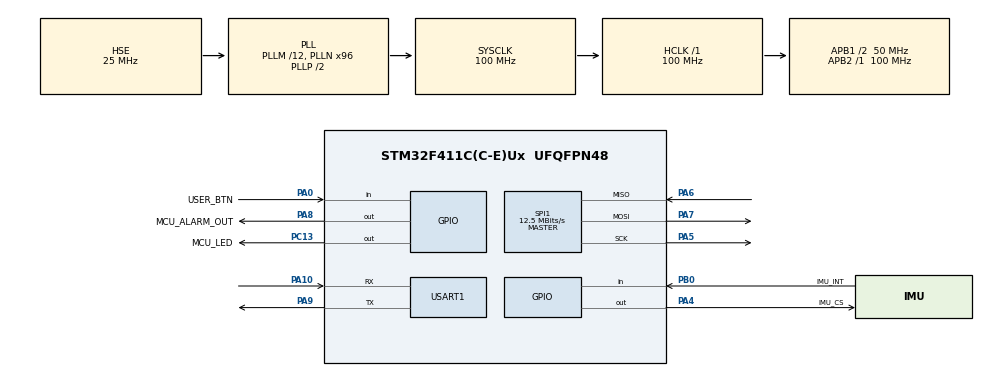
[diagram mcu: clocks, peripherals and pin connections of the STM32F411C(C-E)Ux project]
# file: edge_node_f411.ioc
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Dma.Request0=USART1_RX
Dma.Request1=USART1_TX
Dma.USART1_RX.0.Direction=DMA_PERIPH_TO_MEMORY
Dma.USART1_RX.0.FIFOMode=DMA_FIFOMODE_DISABLE
Dma.USART1_RX.0.Instance=DMA2_Stream2
Dma.USART1_RX.0.MemDataAlignment=DMA_MDATAALIGN_BYTE
Dma.USART1_RX.0.MemInc=DMA_MINC_ENABLE
Dma.USART1_RX.0.Mode=DMA_NORMAL
Dma.USART1_RX.0.PeriphDataAlignment=DMA_PDATAALIGN_BYTE
Dma.USART1_RX.0.PeriphInc=DMA_PINC_DISABLE
Dma.USART1_RX.0.Priority=DMA_PRIORITY_LOW
Dma.USART1_TX.1.Direction=DMA_MEMORY_TO_PERIPH
Dma.USART1_TX.1.FIFOMode=DMA_FIFOMODE_DISABLE
Dma.USART1_TX.1.Instance=DMA2_Stream7
Dma.USART1_TX.1.MemDataAlignment=DMA_MDATAALIGN_BYTE
Dma.USART1_TX.1.MemInc=DMA_MINC_ENABLE
Dma.USART1_TX.1.Mode=DMA_NORMAL
Dma.USART1_TX.1.PeriphDataAlignment=DMA_PDATAALIGN_BYTE
Dma.USART1_TX.1.PeriphInc=DMA_PINC_DISABLE
Dma.USART1_TX.1.Priority=DMA_PRIORITY_LOW
FREERTOS.Tasks01=Task_Heartbeat,24,128,StartDefaultTask,Default,NULL,Dynamic,NULL,NULL;Task_IMU,40,256,StartTaskIMU,Default,NULL,Dynamic,NULL,NULL;Task_Protocol,32,256,StartTaskProtocol,Default,NULL,Dynamic,NULL,NULL
Mcu.Family=STM32F4
Mcu.Name=STM32F411C(C-E)Ux
Mcu.Package=UFQFPN48
NVIC.DMA2_Stream2_IRQn=true\:5\:0\:false\:false\:true\:true\:false\:true\:true
NVIC.DMA2_Stream7_IRQn=true\:5\:0\:false\:false\:true\:true\:false\:true\:true
NVIC.PriorityGroup=NVIC_PRIORITYGROUP_4
NVIC.SPI1_IRQn=true\:5\:0\:false\:false\:true\:true\:true\:true\:true
NVIC.TIM1_UP_TIM10_IRQn=true\:15\:0\:false\:false\:true\:false\:false\:true\:true
NVIC.TimeBase=TIM1_UP_TIM10_IRQn
NVIC.TimeBaseIP=TIM1
NVIC.USART1_IRQn=true\:5\:0\:false\:false\:true\:true\:true\:true\:true
PA0-WKUP.GPIO_Label=USER_BTN
PA0-WKUP.GPIO_PuPd=GPIO_PULLUP
PA0-WKUP.Signal=GPIO_Input
PA10.Mode=Asynchronous
PA10.Signal=USART1_RX
PA13.Mode=Serial_Wire
PA13.Signal=SYS_JTMS-SWDIO
PA14.Mode=Serial_Wire
PA14.Signal=SYS_JTCK-SWCLK
PA4.GPIO_Label=IMU_CS
PA4.Signal=GPIO_Output
PA5.Mode=Full_Duplex_Master
PA5.Signal=SPI1_SCK
PA6.Mode=Full_Duplex_Master
PA6.Signal=SPI1_MISO
PA7.Mode=Full_Duplex_Master
PA7.Signal=SPI1_MOSI
PA8.GPIO_Label=MCU_ALARM_OUT
PA8.Signal=GPIO_Output
PA9.Mode=Asynchronous
PA9.Signal=USART1_TX
PB0.GPIO_Label=IMU_INT
PB0.GPIO_PuPd=GPIO_PULLDOWN
PB0.Signal=GPIO_Input
PC13-ANTI_TAMP.GPIO_Label=MCU_LED
PC13-ANTI_TAMP.GPIO_ModeDefaultOutputPP=GPIO_MODE_OUTPUT_PP
PC13-ANTI_TAMP.Signal=GPIO_Output
PC14-OSC32_IN.Mode=LSE-External-Oscillator
PC14-OSC32_IN.Signal=RCC_OSC32_IN
PC15-OSC32_OUT.Mode=LSE-External-Oscillator
PC15-OSC32_OUT.Signal=RCC_OSC32_OUT
PH0\ -\ OSC_IN.Mode=HSE-External-Oscillator
PH0\ -\ OSC_IN.Signal=RCC_OSC_IN
PH1\ -\ OSC_OUT.Mode=HSE-External-Oscillator
PH1\ -\ OSC_OUT.Signal=RCC_OSC_OUT
ProjectManager.HeapSize=0x200
ProjectManager.StackSize=0x400
ProjectManager.TargetToolchain=CMake
RCC.48MHZClocksFreq_Value=50000000
RCC.AHBFreq_Value=100000000
RCC.APB1CLKDivider=RCC_HCLK_DIV2
RCC.APB1Freq_Value=50000000
RCC.APB1TimFreq_Value=100000000
RCC.APB2Freq_Value=100000000
RCC.APB2TimFreq_Value=100000000
RCC.CortexFreq_Value=100000000
RCC.HCLKFreq_Value=100000000
RCC.HSE_VALUE=25000000
RCC.HSI_VALUE=16000000
RCC.PLLM=12
RCC.PLLN=96
RCC.PLLSourceVirtual=RCC_PLLSOURCE_HSE
RCC.SYSCLKFreq_VALUE=100000000
RCC.SYSCLKSource=RCC_SYSCLKSOURCE_PLLCLK
RCC.VCOOutputFreq_Value=200000000
SPI1.BaudRatePrescaler=SPI_BAUDRATEPRESCALER_8
SPI1.CLKPhase=SPI_PHASE_2EDGE
SPI1.CLKPolarity=SPI_POLARITY_HIGH
SPI1.CalculateBaudRate=12.5 MBits/s
SPI1.Direction=SPI_DIRECTION_2LINES
SPI1.Mode=SPI_MODE_MASTER
SPI1.VirtualType=VM_MASTER
USART1.VirtualMode=VM_ASYNC
VP_FREERTOS_VS_CMSIS_V2.Mode=CMSIS_V2
VP_SYS_VS_tim1.Mode=TIM1
board=custom

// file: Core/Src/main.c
/* USER CODE BEGIN Header */
/**
  ******************************************************************************
  * @file           : main.c
  * @brief          : Main program body
  ******************************************************************************
  * @attention
  *
  * Copyright (c) 2026 STMicroelectronics.
  * All rights reserved.
  *
  * This software is licensed under terms that can be found in the LICENSE file
  * in the root directory of this software component.
  * If no LICENSE file comes with this software, it is provided AS-IS.
  *
  ******************************************************************************
  */
/* USER CODE END Header */
#include "main.h"
#include "cmsis_os.h"
#include "dma.h"
#include "spi.h"
#include "usart.h"
#include "gpio.h"

/* USER CODE BEGIN Includes */
#include "icm42688.h"
#include <string.h>
#include <stdio.h>
#include <stdarg.h>
/* USER CODE END Includes */

void SystemClock_Config(void);
void MX_FREERTOS_Init(void);

/* USER CODE BEGIN 0 */
void My_print(const char *fmt, ...)
{
    char buf[128];
    va_list args;
    va_start(args, fmt);
    int len = vsnprintf(buf, sizeof(buf), fmt, args);
    va_end(args);
    HAL_UART_Transmit(&huart1, (uint8_t*)buf, len, 1000);
}
/* USER CODE END 0 */

int main(void)
{

  /* MCU Configuration--------------------------------------------------------*/

  /* Reset of all peripherals, Initializes the Flash interface and the Systick. */
  HAL_Init();

  /* Configure the system clock */
  SystemClock_Config();

  /* Initialize all configured peripherals */
  MX_GPIO_Init();
  MX_DMA_Init();
  MX_USART1_UART_Init();
  MX_SPI1_Init();
  /* USER CODE BEGIN 2 */
  HAL_GPIO_WritePin(MCU_ALARM_OUT_GPIO_Port, MCU_ALARM_OUT_Pin, GPIO_PIN_SET);
  ICM_Init();
  Gyro_Calibration();
  HAL_Delay(5);
  // 使能IMU INT1 Data Ready中断
  ICM_EnableDataReadyInt();

  /* USER CODE END 2 */

  /* Init scheduler */
  osKernelInitialize();  /* Call init function for freertos objects (in cmsis_os2.c) */
  MX_FREERTOS_Init();

  /* Start scheduler */
  osKernelStart();

  /* We should never get here as control is now taken by the scheduler */

  /* Infinite loop */
  while (1)
  {

  }
}

void SystemClock_Config(void)
{
  RCC_OscInitTypeDef RCC_OscInitStruct = {0};
  RCC_ClkInitTypeDef RCC_ClkInitStruct = {0};

  /** Configure the main internal regulator output voltage
  */
  __HAL_RCC_PWR_CLK_ENABLE();
  __HAL_PWR_VOLTAGESCALING_CONFIG(PWR_REGULATOR_VOLTAGE_SCALE1);

  /** Initializes the RCC Oscillators according to the specified parameters
  * in the RCC_OscInitTypeDef structure.
  */
  RCC_OscInitStruct.OscillatorType = RCC_OSCILLATORTYPE_HSE;
  RCC_OscInitStruct.HSEState = RCC_HSE_ON;
  RCC_OscInitStruct.PLL.PLLState = RCC_PLL_ON;
  RCC_OscInitStruct.PLL.PLLSource = RCC_PLLSOURCE_HSE;
  RCC_OscInitStruct.PLL.PLLM = 12;
  RCC_OscInitStruct.PLL.PLLN = 96;
  RCC_OscInitStruct.PLL.PLLP = RCC_PLLP_DIV2;
  RCC_OscInitStruct.PLL.PLLQ = 4;
  if (HAL_RCC_OscConfig(&RCC_OscInitStruct) != HAL_OK)
  {
    Error_Handler();
  }

  /** Initializes the CPU, AHB and APB buses clocks
  */
  RCC_ClkInitStruct.ClockType = RCC_CLOCKTYPE_HCLK|RCC_CLOCKTYPE_SYSCLK
                              |RCC_CLOCKTYPE_PCLK1|RCC_CLOCKTYPE_PCLK2;
  RCC_ClkInitStruct.SYSCLKSource = RCC_SYSCLKSOURCE_PLLCLK;
  RCC_ClkInitStruct.AHBCLKDivider = RCC_SYSCLK_DIV1;
  RCC_ClkInitStruct.APB1CLKDivider = RCC_HCLK_DIV2;
  RCC_ClkInitStruct.APB2CLKDivider = RCC_HCLK_DIV1;

  if (HAL_RCC_ClockConfig(&RCC_ClkInitStruct, FLASH_LATENCY_3) != HAL_OK)
  {
    Error_Handler();
  }
}

void HAL_TIM_PeriodElapsedCallback(TIM_HandleTypeDef *htim)
{
  if (htim->Instance == TIM1)
  {
    HAL_IncTick();
  }
}

void Error_Handler(void)
{
  __disable_irq();
  while (1)
  {
  }
}

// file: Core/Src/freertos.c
/* USER CODE BEGIN Header */
/**
  ******************************************************************************
  * File Name          : freertos.c
  * Description        : Code for freertos applications
  ******************************************************************************
  * @attention
  *
  * Copyright (c) 2026 STMicroelectronics.
  * All rights reserved.
  *
  * This software is licensed under terms that can be found in the LICENSE file
  * in the root directory of this software component.
  * If no LICENSE file comes with this software, it is provided AS-IS.
  *
  ******************************************************************************
  */
/* USER CODE END Header */

#include "FreeRTOS.h"
#include "task.h"
#include "main.h"
#include "cmsis_os.h"

/* USER CODE BEGIN Includes */
#include <stdint.h>
#include <stdio.h>
#include "icm42688.h"
#include "vibration_monitor.h"
#include "alarm.h"
#include "protocol.h"
/* USER CODE END Includes */

/* USER CODE BEGIN PTD */
// 告警事件结构
typedef struct {
    uint8_t alarm_type;    // 报警类型
    float peak;            // 加速度峰值
    float rms;             // 加速度RMS
    float gyro_x;          // 角速度X
    float gyro_y;          // 角速度Y
    float gyro_z;          // 角速度Z
} AlarmEvent_t;

// 接收数据队列消息结构
typedef struct {
    uint8_t data[256];
    uint16_t len;
} RxDataMsg_t;
/* USER CODE END PTD */

/* USER CODE BEGIN Variables */
extern float gyro_bias_x;
extern float gyro_bias_y;
extern float gyro_bias_z;

osSemaphoreId_t imuDataReadySemHandle;       // IMU数据就绪信号量
volatile uint8_t imu_data_available = 0;     // 1秒内是否收到过IMU数据

// Alarm任务相关（放在USER CODE区避免CubeMX覆盖）
osThreadId_t Task_AlarmHandle;
const osThreadAttr_t Task_Alarm_attributes = {
  .name = "Task_Alarm",
  .stack_size = 256 * 4,
  .priority = (osPriority_t) osPriorityAboveNormal,
};

// 消息队列
osMessageQueueId_t AlarmQueueHandle;
const osMessageQueueAttr_t AlarmQueue_attributes = { .name = "AlarmQueue" };
osMessageQueueId_t RxDataQueueHandle;
const osMessageQueueAttr_t RxDataQueue_attributes = { .name = "RxDataQueue" };
/* USER CODE END Variables */
/* Definitions for Task_Heartbeat */
osThreadId_t Task_HeartbeatHandle;
const osThreadAttr_t Task_Heartbeat_attributes = {
  .name = "Task_Heartbeat",
  .stack_size = 128 * 4,
  .priority = (osPriority_t) osPriorityNormal,
};
/* Definitions for Task_IMU */
osThreadId_t Task_IMUHandle;
const osThreadAttr_t Task_IMU_attributes = {
  .name = "Task_IMU",
  .stack_size = 256 * 4,
  .priority = (osPriority_t) osPriorityHigh,
};
/* Definitions for Task_Protocol */
osThreadId_t Task_ProtocolHandle;
const osThreadAttr_t Task_Protocol_attributes = {
  .name = "Task_Protocol",
  .stack_size = 256 * 4,
  .priority = (osPriority_t) osPriorityAboveNormal,
};

/* USER CODE BEGIN FunctionPrototypes */
void My_print(const char* format, ...);
void StartTaskAlarm(void *argument);
/* USER CODE END FunctionPrototypes */

void StartDefaultTask(void *argument);
void StartTaskIMU(void *argument);
void StartTaskProtocol(void *argument);

void MX_FREERTOS_Init(void); /* (MISRA C 2004 rule 8.1) */

void MX_FREERTOS_Init(void) {

  /* USER CODE BEGIN RTOS_SEMAPHORES */
  /* add semaphores, ... */
  imuDataReadySemHandle = osSemaphoreNew(1, 0, NULL);
  /* USER CODE END RTOS_SEMAPHORES */

  /* USER CODE BEGIN RTOS_QUEUES */
  /* add queues, ... */
  AlarmQueueHandle = osMessageQueueNew(5, sizeof(AlarmEvent_t), &AlarmQueue_attributes);
  RxDataQueueHandle = osMessageQueueNew(5, sizeof(RxDataMsg_t), &RxDataQueue_attributes);
  /* USER CODE END RTOS_QUEUES */

  /* Create the thread(s) */
  /* creation of Task_Heartbeat */
  Task_HeartbeatHandle = osThreadNew(StartDefaultTask, NULL, &Task_Heartbeat_attributes);

  /* creation of Task_IMU */
  Task_IMUHandle = osThreadNew(StartTaskIMU, NULL, &Task_IMU_attributes);

  /* creation of Task_Protocol */
  Task_ProtocolHandle = osThreadNew(StartTaskProtocol, NULL, &Task_Protocol_attributes);

  /* USER CODE BEGIN RTOS_THREADS */
  /* add threads, ... */
  /* creation of Task_Alarm */
  Task_AlarmHandle = osThreadNew(StartTaskAlarm, NULL, &Task_Alarm_attributes);
  /* USER CODE END RTOS_THREADS */

}

void StartDefaultTask(void *argument)
{
  /* USER CODE BEGIN StartDefaultTask */
  /* Infinite loop */
  for(;;)
  {
    // 先清标志，再等1秒，看这1秒内IMU有没有发过特征包
    imu_data_available = 0;
    osDelay(1000);
    HAL_GPIO_TogglePin(MCU_LED_GPIO_Port, MCU_LED_Pin);

    if (!imu_data_available)
    {
      // 这1秒内没收到IMU数据，发空心跳包兜底
      Protocol_SendHeartbeat();
    }
  }
  /* USER CODE END StartDefaultTask */
}

void StartTaskIMU(void *argument)
{
  /* USER CODE BEGIN StartTaskIMU */
  icm42688_data_t imu_data;
  VibMonitor_Statistics_t stats;

  // 初始化振动监测模块
  VibMonitor_Init();

  uint16_t sample_count = 0;

  /* Infinite loop */
  for(;;)
  {
    // 等待IMU数据就绪信号量（超时50ms）
    if (osSemaphoreAcquire(imuDataReadySemHandle, 50) == osOK)
    {
      // 读取 IMU 数据
      ICM_ReadTempData(&imu_data);

      // SPI通信成功，标记IMU链路正常
      imu_data_available = 1;

      // 转换为物理单位
      float ax = imu_data.accel_x / 2048.0f;  // ±16g 量程
      float ay = imu_data.accel_y / 2048.0f;
      float az = imu_data.accel_z / 2048.0f;
      float gx = (imu_data.gyro_x / 16.4f) - (gyro_bias_x / 0.0174533f);
      float gy = (imu_data.gyro_y / 16.4f) - (gyro_bias_y / 0.0174533f);
      float gz = (imu_data.gyro_z / 16.4f) - (gyro_bias_z / 0.0174533f);

      // 添加样本
      VibMonitor_AddSample(ax, ay, az, gx, gy, gz);
      sample_count++;

      // 每秒输出一次统计结果
      if (sample_count >= SAMPLES_PER_SECOND)
      {
        VibMonitor_Calculate(&stats);

        // 发送IMU特征数据到树莓派
        Protocol_SendIMUFeature(stats.accel_peak, stats.accel_rms,
                                stats.gyro_mean_x, stats.gyro_mean_y, stats.gyro_mean_z);

        // 如果有阈值超限，发送告警到队列（位掩码，上层解析）
        if (stats.alarm_flag)
        {
          AlarmEvent_t alarm_event;
          alarm_event.alarm_type = stats.alarm_flag << 1;
          alarm_event.peak = stats.accel_peak;
          alarm_event.rms = stats.accel_rms;
          alarm_event.gyro_x = stats.gyro_mean_x;
          alarm_event.gyro_y = stats.gyro_mean_y;
          alarm_event.gyro_z = stats.gyro_mean_z;
          osMessageQueuePut(AlarmQueueHandle, &alarm_event, 0, 0);
        }

        // 重置缓冲区
        VibMonitor_Reset();
        sample_count = 0;
      }
    }
    // 超时则不做处理，等待下一次信号量
  }
  /* USER CODE END StartTaskIMU */
}

void StartTaskProtocol(void *argument)
{
  /* USER CODE BEGIN StartTaskProtocol */
  RxDataMsg_t rx_msg;
  Protocol_Frame_t frame;

  // 初始化协议模块
  Protocol_Init();

  /* Infinite loop */
  for(;;)
  {
    // 等待接收队列消息（阻塞）
    if (osMessageQueueGet(RxDataQueueHandle, &rx_msg, NULL, osWaitForever) == osOK)
    {
      // 解析协议帧
      int8_t ret = Protocol_ParseFrame(rx_msg.data, rx_msg.len, &frame);

      if (ret == 0)
      {
        // 解析成功，根据消息类型处理
        switch (frame.type)
        {
          case MSG_TYPE_CONFIG_DOWN:
            // TODO: 处理配置下发
            // 发送ACK应答
            // Protocol_SendConfigAck();
            break;

          case MSG_TYPE_STATUS_QUERY:
            // TODO: 处理状态查询
            // 发送状态响应
            break;

          default:
            // 未知消息类型，忽略
            break;
        }
      }
      else
      {
        // 解析失败（CRC错误、帧头错误等），忽略
      }
    }
  }
  /* USER CODE END StartTaskProtocol */
}

/* USER CODE BEGIN Application */
void StartTaskAlarm(void *argument)
{
  AlarmEvent_t alarm_event;
  uint32_t irq_off_tick = 0;  // 告警引脚自动拉低的时刻

  for(;;)
  {
    // 自动拉低告警引脚（非阻塞）
    if (irq_off_tick && HAL_GetTick() >= irq_off_tick)
    {
      Alarm_SetIRQ(0);
      irq_off_tick = 0;
    }

    // 检查按键报警
    if (Alarm_CheckButton())
    {
      osDelay(20);  // 消抖
      if (Alarm_CheckButton())
      {
        Alarm_SetIRQ(1);
        irq_off_tick = HAL_GetTick() + ALARM_IRQ_DURATION_MS;
        Protocol_SendAlarm(ALARM_TYPE_BUTTON);
        // 等待按键释放
        while (Alarm_CheckButton()) { osDelay(10); }
      }
    }

    // 检查IMU超限告警（非阻塞，超时10ms）
    if (osMessageQueueGet(AlarmQueueHandle, &alarm_event, NULL, 10) == osOK)
    {
      Alarm_SetIRQ(1);
      irq_off_tick = HAL_GetTick() + ALARM_IRQ_DURATION_MS;
      Protocol_SendAlarm(alarm_event.alarm_type);
    }
  }
}

void HAL_GPIO_EXTI_Callback(uint16_t GPIO_Pin)
{
  if (GPIO_Pin == IMU_INT_Pin)
  {
    osSemaphoreRelease(imuDataReadySemHandle);
  }
}
/* USER CODE END Application */
